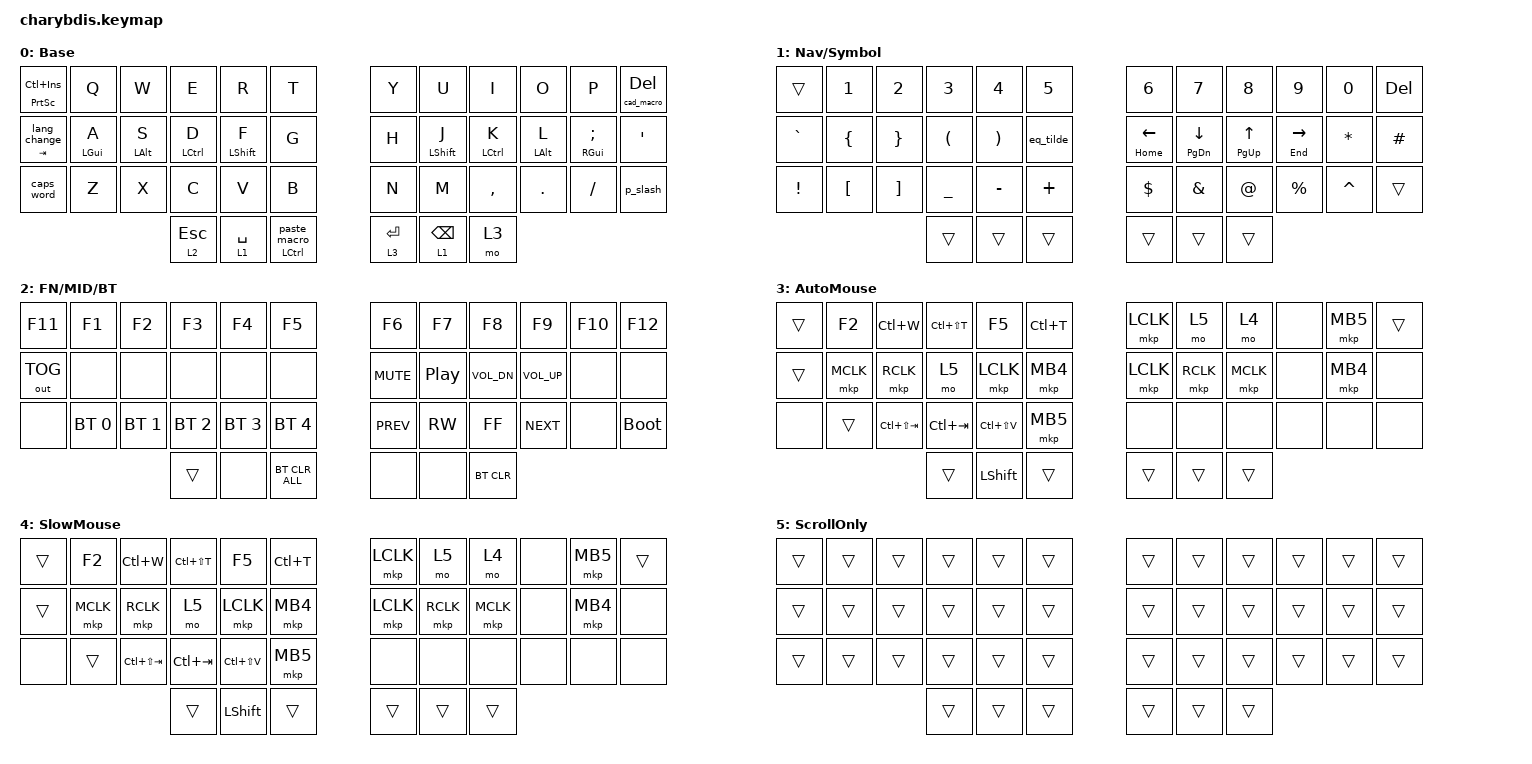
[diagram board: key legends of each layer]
#include <behaviors.dtsi>
#include <dt-bindings/zmk/bt.h>
#include <dt-bindings/zmk/keys.h>
#include <dt-bindings/zmk/pointing.h>
#include <dt-bindings/zmk/rgb.h>
#include <dt-bindings/zmk/outputs.h>
#include <dt-bindings/zmk/mouse.h>
#include <input/processors.dtsi>
#include <zephyr/dt-bindings/input/input-event-codes.h>



//roll 
#undef ZMK_POINTING_DEFAULT_MOVE_VAL
#define ZMK_POINTING_DEFAULT_MOVE_VAL 1000
#undef ZMK_POINTING_DEFAULT_SCRL_VAL
#define ZMK_POINTING_DEFAULT_SCRL_VAL 12


&lt {
    tapping-term-ms = <220>;
    flavor = "balanced";
    quick-tap-ms = <200>;             //150에서 200으로 상향 조정 (연타 인식 범위 확대)
};

&msc {
    acceleration-exponent = <2>;      // 0
    time-to-max-speed-ms = <100>;     // 300
    delay-ms = <0>;                   // 0
};

&mmv {
    time-to-max-speed-ms = <300>;     //최고 속도 도달 시간: 가속이 붙는 '예열 시간'
    acceleration-exponent = <2>;      //가속 지수: 1이상 높게 설정하면 빠르게 굴릴 때 커서가 훨씬 더 멀리 이동
    trigger-period-ms = <16>;         //마우스 위치 보고 주기
};


&mmv_input_listener { input-processors = <&zip_xy_scaler 2 1>; };

&msc_input_listener { input-processors = <&zip_scroll_scaler 2 1>; };



/ {
    behaviors {
        //hm: home_row_mods {
        //    compatible = "zmk,behavior-hold-tap";
        //    #binding-cells = <2>;
        //    tapping-term-ms = <280>;        // 누르는 시간 기준 (약간 길게 잡는 것이 오입력 방지에 유리)
        //    quick-tap-ms = <250>;           // 연타 시에는 모디파이어가 아닌 알파벳이 나가게 함
        //    require-prior-idle-ms = <150>;  // 타이핑 중 오입력 방지 핵심 설정
        //    flavor = "balanced";            // 탭과 홀드 사이의 균형을 잡는 설정
        //    //flavor = "tap-unless-interrupted";
        //    bindings = <&kp>, <&kp>;
        //};

        // 왼손용 HRM (오른쪽 키들에만 반응)
        hml: left_home_row_mods {
            compatible = "zmk,behavior-hold-tap";
            #binding-cells = <2>;
            tapping-term-ms = <250>;        //280
            quick-tap-ms = <200>;           //250
            require-prior-idle-ms = <150>;  //150
            flavor = "balanced";
            bindings = <&kp>, <&kp>;
            //hold-trigger-key-positions = <6 7 8 9 10 11 18 19 20 21 22 23 30 31 32 33 34 35 39 40 41>;  //오른쪽 전체(+오른쪽 엄지)
            hold-trigger-key-positions = <6 7 8 9 10 11 18 19 20 21 22 23 30 31 32 33 34 35>;           //오른쪽 전체(-오른쪽 엄지)
            hold-trigger-on-release;
        };

        // 오른손용 HRM (왼쪽 키들에만 반응)
        hmr: right_home_row_mods {
            compatible = "zmk,behavior-hold-tap";
            #binding-cells = <2>;
            tapping-term-ms = <250>;
            quick-tap-ms = <200>;
            require-prior-idle-ms = <150>;
            flavor = "balanced";
            bindings = <&kp>, <&kp>;
            //hold-trigger-key-positions = <0 1 2 3 4 5 12 13 14 15 16 17 24 25 26 27 28 29 36 37 38>;  //왼쪽 전체(+왼쪽 엄지)
            hold-trigger-key-positions = <0 1 2 3 4 5 12 13 14 15 16 17 24 25 26 27 28 29>;             //왼쪽 전체(-왼쪽 엄지)
            hold-trigger-on-release;
        };

        
        // 앞서 만든 lang_tab 설정 유지
        lang_tab: lang_tab {
            compatible = "zmk,behavior-hold-tap";
            #binding-cells = <2>;
            tapping-term-ms = <200>; //200
            quick-tap-ms = <150>;               // 중요: 연타 시 Tab이 연속 입력되도록 함 175
            require-prior-idle-ms = <125>;      // 중요: 이전 타이핑 후 최소 0.125초는 쉬어야 한영전환 발동
            flavor = "balanced";                // Alt와 조합 시 더 정확하게 반응하도록 변경 balanced
            bindings = <&kp>, <&lang_change>;   // 홀드 시 파라미터(TAB), 탭 시 한영전환
        };


        // 탭 시 붙여넣기, 홀드 시 컨트롤
        ctp: ctrl_paste {
            compatible = "zmk,behavior-hold-tap";
            #binding-cells = <2>;
            tapping-term-ms = <250>;
            quick-tap-ms = <0>;
            flavor = "hold-preferred";
            bindings = <&kp>, <&paste_macro>;
        };


        // 탭 시 |(파이프), Shift 조합 시 \(백슬래시)
        p_slash: pipe_slash {
            compatible = "zmk,behavior-mod-morph";
            #binding-cells = <0>;
            bindings = <&kp PIPE>, <&kp BSLH>;
            mods = <(MOD_LSFT|MOD_RSFT)>;
        };


        // 탭 시 복사(Ctrl+Ins), 홀드 시 PrintScreen (HRM 조합 가능)
        cpps: copy_pscrn {
            compatible = "zmk,behavior-hold-tap";
            #binding-cells = <2>;
            tapping-term-ms = <300>;     // 0.3초 이상 누르면 PSCRN 발동
            quick-tap-ms = <150>;
            flavor = "tap-preferred";
            bindings = <&kp>, <&kp>;
        };


        // 방향키 전용 홀드탭: 탭 시 방향키, 홀드 시 특수 이동
        nav_hp: nav_hold_tap {
            compatible = "zmk,behavior-hold-tap";
            #binding-cells = <2>;
            tapping-term-ms = <200>;
            quick-tap-ms = <200>;
            flavor = "hold-preferred";   // 이동 기능이므로 홀드를 약간 우선시
            bindings = <&kp>, <&kp>;
        };


        // 탭 시 DEL, 1.2초 홀드 시 CAD (Ctrl+Alt+Del)
        del_cad: delete_cad {
            compatible = "zmk,behavior-hold-tap";
            #binding-cells = <2>;
            tapping-term-ms = <1200>;        // 특정 시간 동안 눌러야 CAD 발동
            quick-tap-ms = <200>;            // DEL 연타를 위해 설정 150? 200?
            flavor = "tap-preferred";        // 일반적인 타이핑(DEL)을 우선시
            //bindings = <&kp>, <&kp>;
            bindings = <&cad_macro>, <&kp>;  // ZMK 파서 에러방지
        };


        // 탭 시 =, Shift 조합 시 ~
        eq_tilde: eq_tilde {
            compatible = "zmk,behavior-mod-morph";
            #binding-cells = <0>;
            bindings = <&kp EQUAL>, <&kp TILDE>;    // 기본은 =, Shift 조합 시 ~
            mods = <(MOD_LSFT|MOD_RSFT)>;           // 양쪽 Shift 모두 대응
        };


    };



    macros {
        // Shift + Space (윈도우/안드로이드 공용 한영전환)
        //lang_change: lang_change {
        //    compatible = "zmk,behavior-macro";
        //    #binding-cells = <0>;
        //    bindings = <&macro_press &kp LSHFT>, <&macro_tap &kp SPC>, <&macro_release &kp LSHFT>;
        //};
lang_change: lang_change {
    compatible = "zmk,behavior-macro";
    #binding-cells = <0>;
    wait-ms = <0>;
    tap-ms = <1>;
    bindings = <&kp LS(SPC)>; // ZMK의 내부 단축어 기능을 사용해 최대한 빠르게 처리
};


        // Shift + Insert (붙여넣기)
        paste_macro: paste_macro {
            compatible = "zmk,behavior-macro";
            #binding-cells = <0>;
            wait-ms = <30>;
            tap-ms = <30>;
            bindings = <&macro_press &kp LSHFT>, <&macro_tap &kp INS>, <&macro_release &kp LSHFT>;
        };


        // LC(LALT(DEL))
        cad_macro: cad_macro {
            compatible = "zmk,behavior-macro";
            #binding-cells = <0>;
            bindings 
               = <&macro_press &kp LCTRL &kp LALT>
               , <&macro_tap &kp DEL>
               , <&macro_release &kp LCTRL &kp LALT>
               ;
        };


//    // 上下滚动编码器行为
//    scroll_vertical_encoder: scroll_vertical_encoder {
//        compatible = "zmk,behavior-sensor-rotate";
//        #sensor-binding-cells = <0>;
//        bindings = <&msc SCRL_DOWN>, <&msc SCRL_UP>;
//        tap-ms = <100>;
//    };
//
//    // 左右滚动编码器行为
//    scroll_horizontal_encoder: scroll_horizontal_encoder {
//        compatible = "zmk,behavior-sensor-rotate";
//        #sensor-binding-cells = <0>;
//        bindings = <&msc SCRL_LEFT>, <&msc SCRL_RIGHT>;
//        tap-ms = <100>;
//    };


    };



    keymap {
        compatible = "zmk,keymap";

        layer_0 {
            label = "Base";
            bindings = <
&cpps PSCRN LC(INS) &kp Q       &kp W       &kp E        &kp R        &kp T        &kp Y  &kp U        &kp I        &kp O       &kp P          &del_cad 0 DEL
&lang_tab TAB 0     &hml LGUI A &hml LALT S &hml LCTRL D &hml LSHFT F &kp G        &kp H  &hmr LSHFT J &hmr LCTRL K &hmr LALT L &hmr RGUI SEMI &kp APOS
&caps_word          &kp Z       &kp X       &kp C        &kp V        &kp B        &kp N  &kp M        &kp COMMA    &kp DOT     &kp FSLH       &p_slash
                                &lt 2 ESC   &lt 1 SPACE  &ctp LCTRL 0                     &lt 3 RET    &lt 1 BSPC   &mo 3
            >;
        };


        layer_1 {
            label = "Nav/Symbol";
            bindings = <
&trans      &kp N1    &kp N2    &kp N3    &kp N4    &kp N5          &kp N6            &kp N7             &kp N8            &kp N9            &kp N0     &kp DEL
&kp GRAVE   &kp LBRC  &kp RBRC  &kp LPAR  &kp RPAR  &eq_tilde       &nav_hp HOME LEFT &nav_hp PG_DN DOWN &nav_hp PG_UP UP  &nav_hp END RIGHT &kp STAR   &kp HASH
&kp EXCL    &kp LBKT  &kp RBKT  &kp UNDER &kp MINUS &kp PLUS        &kp DLLR          &kp AMPS           &kp AT            &kp PRCNT         &kp CARET  &trans
                      &trans    &trans    &trans                                      &trans             &trans            &trans
            >;
        };


        layer_2 {
            label = "FN/MID/BT";
            bindings = <
&kp F11      &kp F1       &kp F2       &kp F3       &kp F4       &kp F5            &kp F6     &kp F7     &kp F8       &kp F9       &kp F10 &kp F12
&out OUT_TOG &none        &none        &none        &none        &none             &kp C_MUTE &kp C_PP   &kp C_VOL_DN &kp C_VOL_UP &none   &none
&none        &bt BT_SEL 0 &bt BT_SEL 1 &bt BT_SEL 2 &bt BT_SEL 3 &bt BT_SEL 4      &kp C_PREV &kp C_RW   &kp C_FF     &kp C_NEXT   &none   &bootloader
                          &trans       &none        &bt BT_CLR_ALL                            &none      &none        &bt BT_CLR 
            >;
        }; 


        layer_3 {
            label = "AutoMouse";   //Pure Mouse (Auto-activated)
            bindings = <
&trans   &kp F2    &kp LC(W)       &kp LC(LS(T))  &kp F5        &kp LC(T)       &mkp LCLK &mo 5     &mo 4     &none  &mkp MB5  &trans
&trans   &mkp MCLK &mkp RCLK       &mo 5          &mkp LCLK     &mkp MB4        &mkp LCLK &mkp RCLK &mkp MCLK &none  &mkp MB4  &none
&none    &trans    &kp LC(LS(TAB)) &kp LC(TAB)    &kp LC(LS(V)) &mkp MB5        &none     &none     &none     &none  &none     &none
                   &trans          &kp LSHFT      &trans                                  &trans    &trans    &trans 
            >;
        };


        layer_4 {
            label = "SlowMouse";   //AutoMouse Layer와 동일 
            bindings = < 
&trans   &kp F2    &kp LC(W)       &kp LC(LS(T))  &kp F5        &kp LC(T)       &mkp LCLK &mo 5     &mo 4     &none  &mkp MB5  &trans
&trans   &mkp MCLK &mkp RCLK       &mo 5          &mkp LCLK     &mkp MB4        &mkp LCLK &mkp RCLK &mkp MCLK &none  &mkp MB4  &none
&none    &trans    &kp LC(LS(TAB)) &kp LC(TAB)    &kp LC(LS(V)) &mkp MB5        &none     &none     &none     &none  &none     &none
                   &trans          &kp LSHFT      &trans                                  &trans    &trans    &trans 
            >;
        };


       layer_5 {
           label = "ScrollOnly";
           bindings = <
// 모든 키를 &trans로 설정하여 이전 레이어의 마우스 버튼 입력을 투과시킵니다.
&trans &trans &trans &trans &trans &trans    &trans &trans &trans &trans &trans &trans
&trans &trans &trans &trans &trans &trans    &trans &trans &trans &trans &trans &trans
&trans &trans &trans &trans &trans &trans    &trans &trans &trans &trans &trans &trans
                    &trans &trans &trans    &trans &trans &trans
           >;
       };




    };
};
